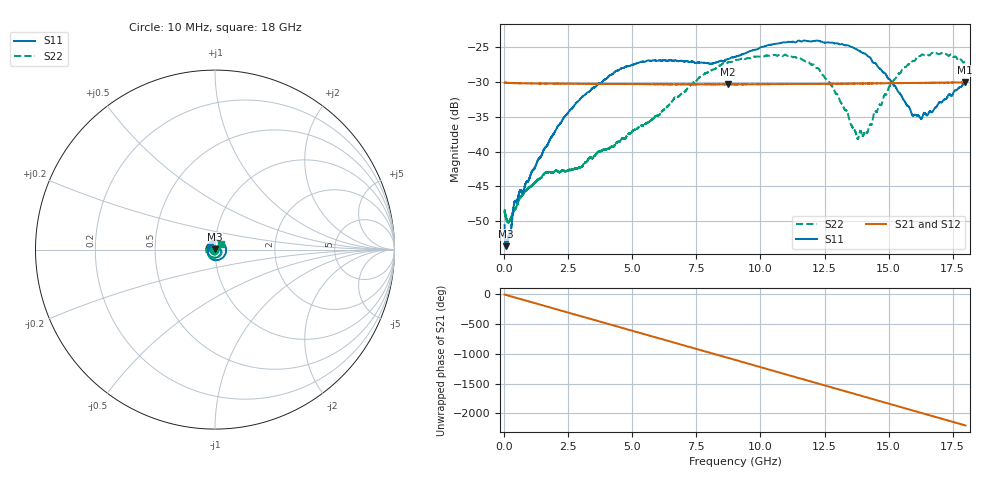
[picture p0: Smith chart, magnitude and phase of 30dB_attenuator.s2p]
!Keysight Technologies,N5242B,US61255121,A.15.50.07
!Date: Wednesday, October 01, 2025 15:40:57
!Correction: S11(C  2-Port  )
!S21(C  2-Port  )
!S12(C  2-Port  )
!S22(C  2-Port  )
!S2P File: Measurements: S11, S21, S12, S22:
# Hz S  dB  R 50
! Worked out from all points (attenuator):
!   10001 points, 10 MHz to 18 GHz, reference 50 ohm
!   highest |S21| = -30.04 dB at 17.98 GHz (marker M1); lowest = -30.3 dB at 8.732 GHz (marker M2)
!   lowest |S11| = -53.6 dB at 65.77 MHz (marker M3), VSWR 1.00, Z = 49.8 + j0.108 ohm
!   |S11| at or under -10 dB: start of sweep to end of sweep
!   |S22| runs from -50.3 to -25.8 dB; largest |S21 - S12| = 0.00023
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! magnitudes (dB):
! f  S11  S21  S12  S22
! 10 MHz  -50.6  -30.1  -30.1  -48.8
! 65.77 MHz  -53.6  -30.1  -30.1  -49.5
! 177.3 MHz  -52.2  -30.1  -30.1  -50.0
! 393.2 MHz  -47.4  -30.1  -30.1  -48.5
! 601.9 MHz  -45.7  -30.2  -30.2  -46.7
! 1.615 GHz  -39.4  -30.2  -30.2  -43.0
! 3.009 GHz  -32.2  -30.2  -30.2  -42.3
! 4.547 GHz  -28.1  -30.3  -30.3  -38.3
! 6.008 GHz  -26.9  -30.3  -30.3  -34.8
! 7.618 GHz  -27.2  -30.3  -30.3  -29.3
! 8.732 GHz  -26.7  -30.3  -30.3  -27.2
! 9.005 GHz  -26.4  -30.3  -30.3  -26.8
! 10.98 GHz  -24.3  -30.3  -30.3  -26.1
! 12 GHz  -24.1  -30.3  -30.3  -27.5
! 12.77 GHz  -24.3  -30.3  -30.2  -30.5
! 13.78 GHz  -25.3  -30.2  -30.2  -38.1
! 14.19 GHz  -26.3  -30.2  -30.2  -37.1
! 15 GHz  -29.5  -30.2  -30.1  -30.8
! 15.93 GHz  -34.8  -30.1  -30.1  -27.0
! 16.25 GHz  -35.2  -30.1  -30.1  -26.2
! 17.98 GHz  -30.3  -30.0  -30.1  -27.0
! 18 GHz  -30.3  -30.1  -30.0  -26.9
